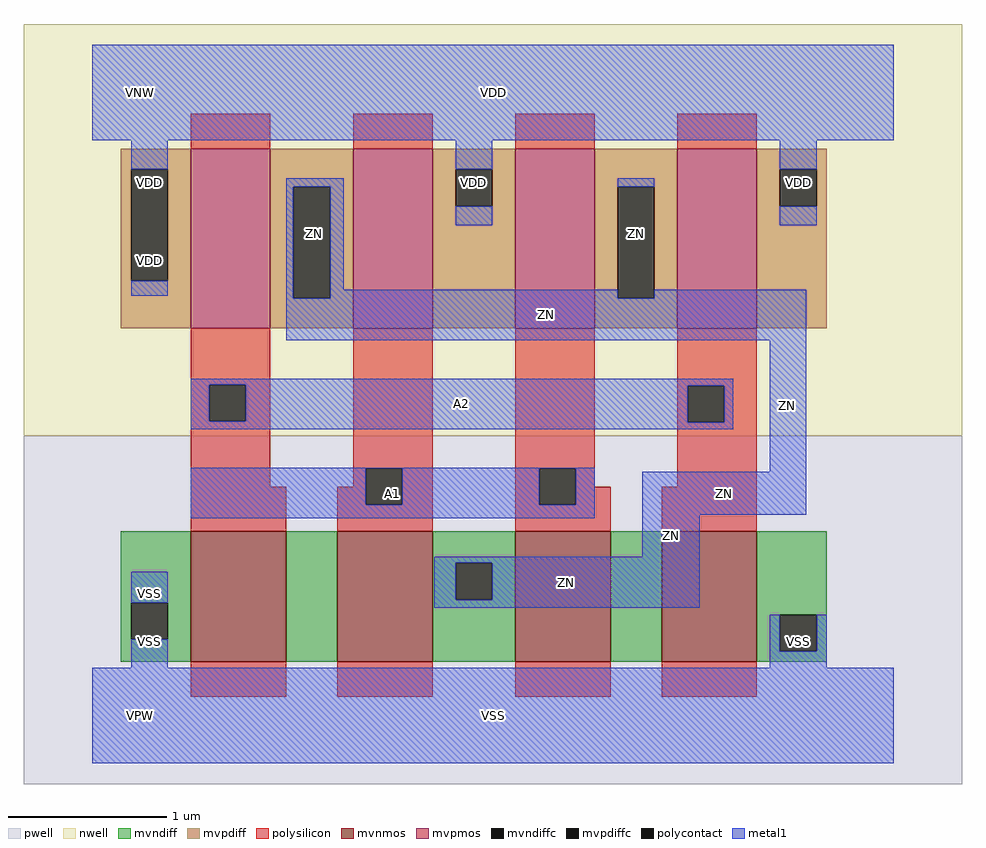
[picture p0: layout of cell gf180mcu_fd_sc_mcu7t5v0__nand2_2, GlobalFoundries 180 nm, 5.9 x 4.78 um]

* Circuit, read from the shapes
.subckt gf180mcu_fd_sc_mcu7t5v0__nand2_2 A1 A2 ZN VDD VNW VPW VSS
XM1 n1 A2 VSS VPW nfet_06v0 w=0.82u l=0.6u
XM2 ZN A1 n1 VPW nfet_06v0 w=0.82u l=0.6u
XM3 n2 A1 ZN VPW nfet_06v0 w=0.82u l=0.6u
XM4 VSS A2 n2 VPW nfet_06v0 w=0.82u l=0.6u
XM5 ZN A2 VDD VNW pfet_06v0 w=1.13u l=0.5u m=2
XM6 VDD A1 ZN VNW pfet_06v0 w=1.13u l=0.5u m=2
.ends

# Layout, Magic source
magic
tech gf180mcuD
magscale 1 10
<< nwell >>
rect -86 352 1094 870
<< pwell >>
rect -86 -86 1094 352
<< mvnmos >>
rect 124 68 244 232
rect 308 68 428 232
rect 532 68 652 232
rect 716 68 836 232
<< mvpmos >>
rect 124 487 224 713
rect 328 487 428 713
rect 532 487 632 713
rect 736 487 836 713
<< mvndiff >>
rect 36 142 124 232
rect 36 96 49 142
rect 95 96 124 142
rect 36 68 124 96
rect 244 68 308 232
rect 428 192 532 232
rect 428 146 457 192
rect 503 146 532 192
rect 428 68 532 146
rect 652 68 716 232
rect 836 127 924 232
rect 836 81 865 127
rect 911 81 924 127
rect 836 68 924 81
<< mvpdiff >>
rect 36 687 124 713
rect 36 547 49 687
rect 95 547 124 687
rect 36 487 124 547
rect 224 665 328 713
rect 224 525 253 665
rect 299 525 328 665
rect 224 487 328 525
rect 428 687 532 713
rect 428 641 457 687
rect 503 641 532 687
rect 428 487 532 641
rect 632 665 736 713
rect 632 525 661 665
rect 707 525 736 665
rect 632 487 736 525
rect 836 687 924 713
rect 836 641 865 687
rect 911 641 924 687
rect 836 487 924 641
<< mvndiffc >>
rect 49 96 95 142
rect 457 146 503 192
rect 865 81 911 127
<< mvpdiffc >>
rect 49 547 95 687
rect 253 525 299 665
rect 457 641 503 687
rect 661 525 707 665
rect 865 641 911 687
<< polysilicon >>
rect 124 713 224 757
rect 328 713 428 757
rect 532 713 632 757
rect 736 713 836 757
rect 124 416 224 487
rect 124 370 147 416
rect 193 370 224 416
rect 124 288 224 370
rect 328 311 428 487
rect 328 288 344 311
rect 124 232 244 288
rect 308 265 344 288
rect 390 265 428 311
rect 308 232 428 265
rect 532 311 632 487
rect 532 265 562 311
rect 608 288 632 311
rect 736 415 836 487
rect 736 369 749 415
rect 795 369 836 415
rect 736 288 836 369
rect 608 265 652 288
rect 532 232 652 265
rect 716 232 836 288
rect 124 24 244 68
rect 308 24 428 68
rect 532 24 652 68
rect 716 24 836 68
<< polycontact >>
rect 147 370 193 416
rect 344 265 390 311
rect 562 265 608 311
rect 749 369 795 415
<< metal1 >>
rect 0 724 1008 844
rect 49 687 95 724
rect 457 687 503 724
rect 49 528 95 547
rect 244 665 316 676
rect 244 525 253 665
rect 299 536 316 665
rect 865 687 911 724
rect 457 617 503 641
rect 661 665 707 676
rect 299 525 661 536
rect 865 617 911 641
rect 707 525 898 536
rect 244 472 898 525
rect 124 416 806 424
rect 124 370 147 416
rect 193 415 806 416
rect 193 370 749 415
rect 124 369 749 370
rect 795 369 806 415
rect 124 360 806 369
rect 124 311 632 312
rect 124 265 344 311
rect 390 265 562 311
rect 608 265 632 311
rect 852 307 898 472
rect 124 248 632 265
rect 692 253 898 307
rect 692 200 764 253
rect 430 192 764 200
rect 49 142 95 181
rect 430 146 457 192
rect 503 146 764 192
rect 430 136 764 146
rect 49 60 95 96
rect 852 81 865 127
rect 911 81 924 127
rect 852 60 924 81
rect 0 -60 1008 60
<< labels >>
flabel metal1 s 0 724 1008 844 0 FreeSans 400 0 0 0 VDD
port 4 nsew power bidirectional abutment
flabel metal1 s 49 127 95 181 0 FreeSans 400 0 0 0 VSS
port 7 nsew ground bidirectional abutment
flabel metal1 s 661 536 707 676 0 FreeSans 400 0 0 0 ZN
port 3 nsew default output
flabel metal1 s 124 248 632 312 0 FreeSans 400 0 0 0 A1
port 1 nsew default input
flabel metal1 s 124 360 806 424 0 FreeSans 400 0 0 0 A2
port 2 nsew default input
flabel nwell s 10 734 110 834 0 FreeSans 400 0 0 0 VNW
port 5 nsew power bidirectional
flabel pwell s 10 -50 110 50 0 FreeSans 400 0 0 0 VPW
port 6 nsew ground bidirectional
rlabel metal1 s 244 536 316 676 1 ZN
port 3 nsew default output
rlabel metal1 s 244 472 898 536 1 ZN
port 3 nsew default output
rlabel metal1 s 852 307 898 472 1 ZN
port 3 nsew default output
rlabel metal1 s 692 253 898 307 1 ZN
port 3 nsew default output
rlabel metal1 s 692 200 764 253 1 ZN
port 3 nsew default output
rlabel metal1 s 430 136 764 200 1 ZN
port 3 nsew default output
rlabel metal1 s 865 617 911 724 1 VDD
port 4 nsew power bidirectional abutment
rlabel metal1 s 457 617 503 724 1 VDD
port 4 nsew power bidirectional abutment
rlabel metal1 s 49 617 95 724 1 VDD
port 4 nsew power bidirectional abutment
rlabel metal1 s 49 528 95 617 1 VDD
port 4 nsew power bidirectional abutment
rlabel metal1 s 852 60 924 127 1 VSS
port 7 nsew ground bidirectional abutment
rlabel metal1 s 49 60 95 127 1 VSS
port 7 nsew ground bidirectional abutment
rlabel metal1 s 0 -60 1008 60 1 VSS
port 7 nsew ground bidirectional abutment
<< properties >>
string FIXED_BBOX 0 0 1008 784
string GDS_END 704718
string GDS_FILE $PDKPATH/libs.ref/gf180mcu_fd_sc_mcu7t5v0/gds/gf180mcu_fd_sc_mcu7t5v0.gds
string GDS_START 701500
string LEFclass core
string LEFsite GF018hv5v_mcu_sc7
string LEFsymmetry X Y
<< end >>
